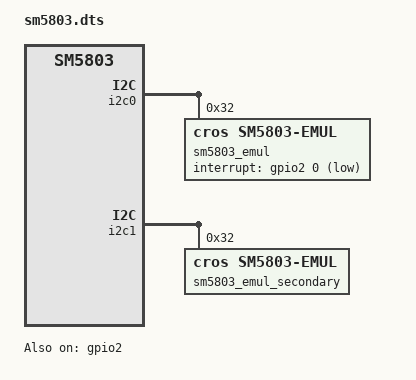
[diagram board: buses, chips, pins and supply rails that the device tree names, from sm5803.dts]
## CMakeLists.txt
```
# Copyright 2023 The ChromiumOS Authors
# Use of this source code is governed by a BSD-style license that can be
# found in the LICENSE file.

target_sources(app PRIVATE src/sm5803.c src/usbc.c)
```

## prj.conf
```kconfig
# Copyright 2023 The ChromiumOS Authors
# Use of this source code is governed by a BSD-style license that can be
# found in the LICENSE file.

CONFIG_PLATFORM_EC_CHARGER_SM5803=y
CONFIG_PLATFORM_EC_CHARGER_ISL9238=n
CONFIG_PLATFORM_EC_USB_PD_MAX_VOLTAGE_MV=15000
CONFIG_PLATFORM_EC_OCPC=y
CONFIG_PLATFORM_EC_OCPC_DEF_RBATT_MOHMS=20
CONFIG_PLATFORM_EC_THROTTLE_AP=y
CONFIG_PLATFORM_EC_SM5803_PROCHOT_DURATION_10MS=y
CONFIG_PLATFORM_EC_CHARGER_SM5803_VBUS_MON_SEL_4V=y
CONFIG_PLATFORM_EC_CHARGER_SM5803_VSYS_MON_SEL_5V=y
CONFIG_PLATFORM_EC_CHARGER_SM5803_IBAT_PHOT_SEL=4800
```

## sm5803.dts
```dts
/* Copyright 2023 The ChromiumOS Authors
 * Use of this source code is governed by a BSD-style license that can be
 * found in the LICENSE file.
 */

/ {
	usbc {
		port0@0 {
			compatible = "named-usbc-port";
			chg = <&sm5803_emul>;
		};

		port1@1 {
		  compatible = "named-usbc-port";
		  chg = <&sm5803_emul_secondary>;
		};
	};

	gpio2: gpio@2000 {
		status = "okay";
		compatible = "zephyr,gpio-emul";
		reg = <0x2000 0x4>;
		falling-edge;
		gpio-controller;
		#gpio-cells = <2>;
		ngpios = <1>;
	};
};

&i2c0 {
	sm5803_emul: sm5803@32 {
		compatible = "cros,sm5803-emul", "siliconmitus,sm5803";
		status = "okay";
		reg = <0x32>;
		interrupt-gpios = <&gpio2 0 (GPIO_ACTIVE_LOW)>;
	};
};

&i2c1 {
  sm5803_emul_secondary: sm5803-secondary@32 {
		compatible = "cros,sm5803-emul", "siliconmitus,sm5803";
		status = "okay";
		reg = <0x32>;
	};
};

&default_battery {
	ship_mode_reg_data = <0x2000>;
};
```

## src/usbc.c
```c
/* Copyright 2023 The ChromiumOS Authors
 * Use of this source code is governed by a BSD-style license that can be
 * found in the LICENSE file.
 */
#include "driver/charger/sm5803.h"
#include "driver/tcpm/tcpci.h"
#include "emul/emul_sm5803.h"
#include "test/drivers/charger_utils.h"

#include <zephyr/drivers/emul.h>
#include <zephyr/drivers/gpio/gpio_emul.h>

__override bool pd_check_vbus_level(int port, enum vbus_level level)
{
	return sm5803_check_vbus_level(port, level);
}

static void pin_interrupt_handler(const struct device *gpio,
				  struct gpio_callback *const cb,
				  gpio_port_pins_t pins)
{
	sm5803_interrupt(get_charger_num(&sm5803_drv));
}

static int configure_charger_interrupt(void)
{
	const struct gpio_dt_spec *gpio = sm5803_emul_get_interrupt_gpio(
		EMUL_DT_GET(DT_NODELABEL(sm5803_emul)));
	static struct gpio_callback callback;

	if (!device_is_ready(gpio->port))
		k_oops();

	gpio_emul_input_set(gpio->port, gpio->pin, 1);
	gpio_pin_configure_dt(gpio, GPIO_INPUT | GPIO_ACTIVE_LOW);
	gpio_init_callback(&callback, pin_interrupt_handler, BIT(gpio->pin));
	gpio_add_callback(gpio->port, &callback);
	gpio_pin_interrupt_configure_dt(gpio, GPIO_INT_EDGE_TO_ACTIVE);

	return 0;
}
SYS_INIT(configure_charger_interrupt, APPLICATION, 10);
```
